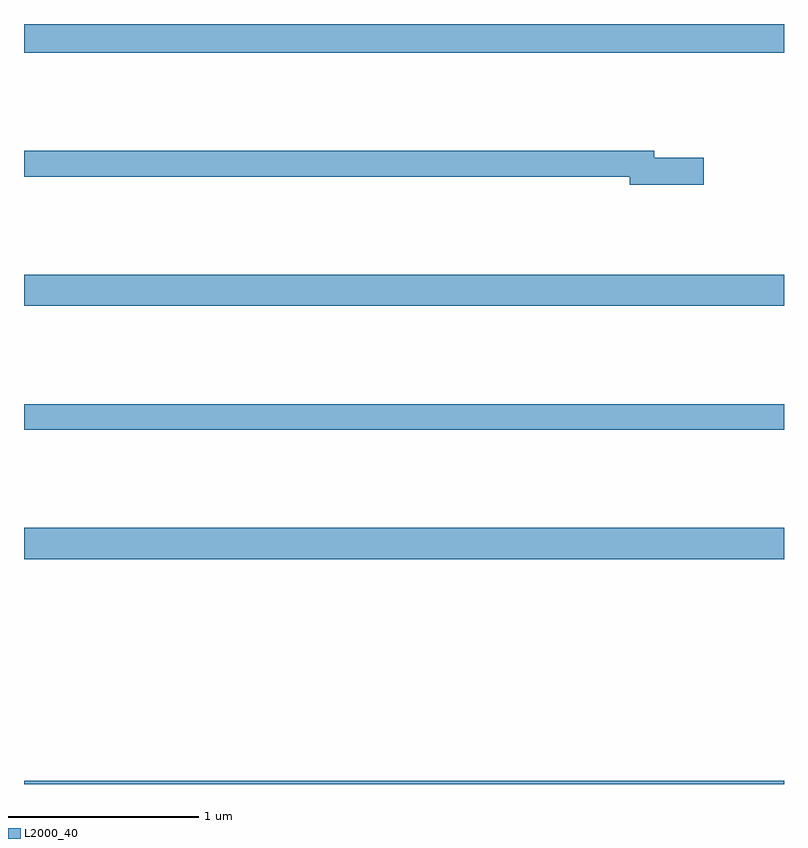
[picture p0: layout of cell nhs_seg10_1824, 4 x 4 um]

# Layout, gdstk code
import gdstk
lib = gdstk.Library(unit=1e-6, precision=1e-09)
def R(c, l, rs):  # rectangles x0, y0, x1, y1
    for r in rs: c.add(gdstk.rectangle(r[:2], r[2:], *l))
def P(c, l, *ps):  # polygons
    for p in ps: c.add(gdstk.Polygon(p, *l))
L2000_40 = (2000, 40)

nhs_seg10_1824 = lib.new_cell('nhs_seg10_1824')
R(nhs_seg10_1824, L2000_40, [(207,1264.5,211,1264.516), (207,1265.684,211,1265.848), (207,1266.364,211,1266.5), (207,1267.016,211,1267.18), (207,1268.348,211,1268.5)])
P(nhs_seg10_1824, L2000_40, [(210.577,1267.796),(210.316,1267.796),(210.316,1267.832),(207,1267.832),(207,1267.696),(210.188,1267.696),(210.188,1267.654),(210.577,1267.654)])

lib.write_gds('nhs_seg10_1824.gds')
